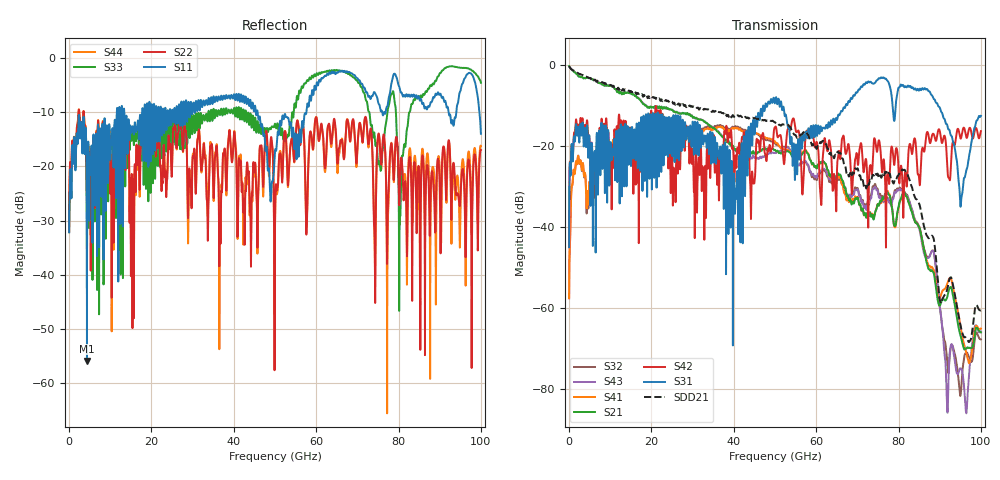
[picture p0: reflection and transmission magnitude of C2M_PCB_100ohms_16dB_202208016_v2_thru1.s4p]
! Info: Touchstone file created by Circ.  Input file=Intel_C2M_200G_5p0in_202208016_staggered.circ
# Hz S RI R 50
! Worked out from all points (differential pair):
!   10000 points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, 10 MHz to 100 GHz, reference 50 ohm
!   strongest paths, dB at 10 MHz, 25.01 GHz, 50.01 GHz, 75.01 GHz, 100 GHz:
!     S31: -44.9, -19.2, -9.3, -3.5, -12.5
!     S42: -44.9, -20.8, -15.3, -19.8, -16.3
!     S21: -0.2, -11.0, -20.9, -34.3, -65.9
!     S41: -57.5, -18.0, -18.8, -34.3, -65.0
!     S43: -0.2, -11.0, -21.6, -31.4, -65.7
!     S32: -57.5, -17.7, -19.3, -30.9, -67.7
!   taken as a pair (ports 1,3 in; 2,4 out), SDD21 dB: -0.2, -8.9, -14.1, -27.0, -60.5
!   lowest |S11| = -56.0 dB at 4.34 GHz (marker M1), VSWR 1.00, Z = 50.2 - j0.00897 ohm
!   |S11| at or under -10 dB: start of sweep to 11.6 GHz; 13.41 GHz to 17.76 GHz (4.356 GHz wide, 28 % of centre); 45.79 GHz to 57.62 GHz (11.83 GHz wide, 22.9 % of centre)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
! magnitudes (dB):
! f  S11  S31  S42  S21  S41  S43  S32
! 10 MHz  -32.1  -44.9  -44.9  -0.2  -57.5  -0.2  -57.5
! 1.4 GHz  -16.9  -18.8  -16.6  -1.7  -26.6  -1.7  -26.7
! 4.34 GHz  -56.0  -14.9  -13.6  -3.1  -33.6  -3.1  -34.4
! 44.12 GHz  -8.1  -14.9  -34.9  -21.5  -16.6  -22.8  -16.4
! 80.72 GHz  -6.3  -5.0  -25.3  -32.4  -32.7  -30.8  -30.5
! 91.75 GHz  -9.1  -14.5  -23.2  -57.5  -54.2  -83.1  -72.2
! 100 GHz  -14.0  -12.5  -16.3  -65.9  -65.0  -65.7  -67.7
